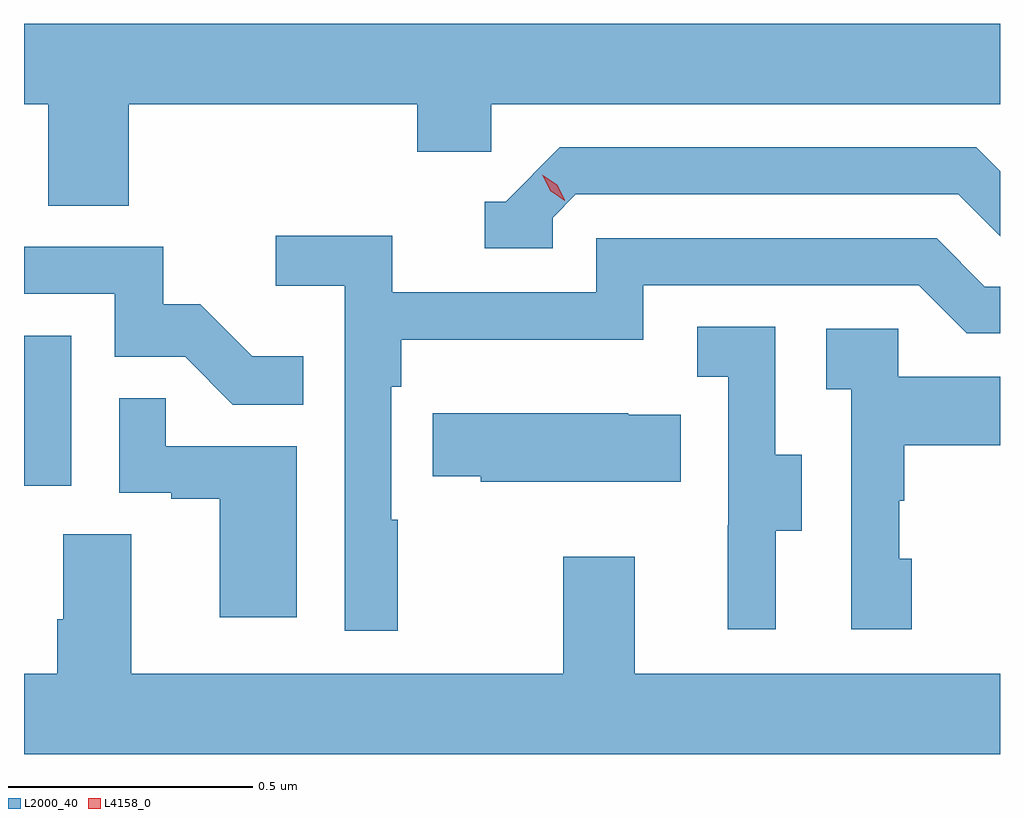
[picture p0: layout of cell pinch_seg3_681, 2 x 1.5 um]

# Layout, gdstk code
import gdstk
lib = gdstk.Library(unit=1e-6, precision=1e-09)
def R(c, l, rs):  # rectangles x0, y0, x1, y1
    for r in rs: c.add(gdstk.rectangle(r[:2], r[2:], *l))
def P(c, l, *ps):  # polygons
    for p in ps: c.add(gdstk.Polygon(p, *l))
L2000_40 = (2000, 40)
L4158_0 = (4158, 0)

pinch_seg3_681 = lib.new_cell('pinch_seg3_681')
R(pinch_seg3_681, L2000_40, [(1066.041,673.494,1066.138,673.801)])
P(pinch_seg3_681, L2000_40, [(1066.256,674.276),(1066.847,674.276),(1066.847,674.178),(1066.998,674.178),(1066.998,674.276),(1068.041,674.276),(1068.041,674.44),(1066.041,674.44),(1066.041,674.276),(1066.091,674.276),(1066.091,674.068),(1066.256,674.068)],
  [(1067.124,674.043),(1067.172,674.091),(1067.955,674.091),(1068.041,674.005),(1068.041,674.138),(1067.992,674.187),(1067.139,674.187),(1067.028,674.076),(1066.985,674.076),(1066.985,673.98),(1067.124,673.98)],
  [(1066.807,673.424),(1066.794,673.424),(1066.794,673.697),(1066.814,673.697),(1066.814,673.793),(1067.31,673.793),(1067.31,673.905),(1067.874,673.905),(1067.973,673.806),(1068.041,673.806),(1068.041,673.902),(1068.01,673.902),(1067.911,674.001),(1067.214,674.001),(1067.214,673.89),(1066.796,673.89),(1066.796,674.006),(1066.557,674.006),(1066.557,673.904),(1066.698,673.904),(1066.698,673.197),(1066.807,673.197)],
  [(1066.613,673.759),(1066.509,673.759),(1066.402,673.866),(1066.326,673.866),(1066.326,673.983),(1066.041,673.983),(1066.041,673.887),(1066.227,673.887),(1066.227,673.758),(1066.371,673.758),(1066.469,673.66),(1066.613,673.66)],
  [(1067.581,673.402),(1067.635,673.402),(1067.635,673.557),(1067.58,673.557),(1067.58,673.82),(1067.421,673.82),(1067.421,673.717),(1067.484,673.717),(1067.484,673.413),(1067.483,673.413),(1067.483,673.2),(1067.581,673.2)],
  [(1067.86,673.344),(1067.835,673.344),(1067.835,673.463),(1067.845,673.463),(1067.845,673.577),(1068.041,673.577),(1068.041,673.717),(1067.832,673.717),(1067.832,673.815),(1067.685,673.815),(1067.685,673.691),(1067.736,673.691),(1067.736,673.2),(1067.86,673.2)],
  [(1066.6,673.575),(1066.331,673.575),(1066.331,673.673),(1066.236,673.673),(1066.236,673.479),(1066.343,673.479),(1066.343,673.467),(1066.442,673.467),(1066.442,673.224),(1066.6,673.224)],
  [(1067.387,673.639),(1067.279,673.639),(1067.279,673.642),(1066.879,673.642),(1066.879,673.513),(1066.977,673.513),(1066.977,673.502),(1067.387,673.502)],
  [(1068.041,673.108),(1067.293,673.108),(1067.293,673.348),(1067.146,673.348),(1067.146,673.108),(1066.261,673.108),(1066.261,673.394),(1066.121,673.394),(1066.121,673.22),(1066.109,673.22),(1066.109,673.108),(1066.041,673.108),(1066.041,672.944),(1068.041,672.944)])
P(pinch_seg3_681, L4158_0, [(1067.149,674.078),(1067.119,674.098),(1067.103,674.131),(1067.103,674.131),(1067.103,674.131),(1067.134,674.111),(1067.149,674.079),(1067.149,674.078)])

lib.write_gds('pinch_seg3_681.gds')
